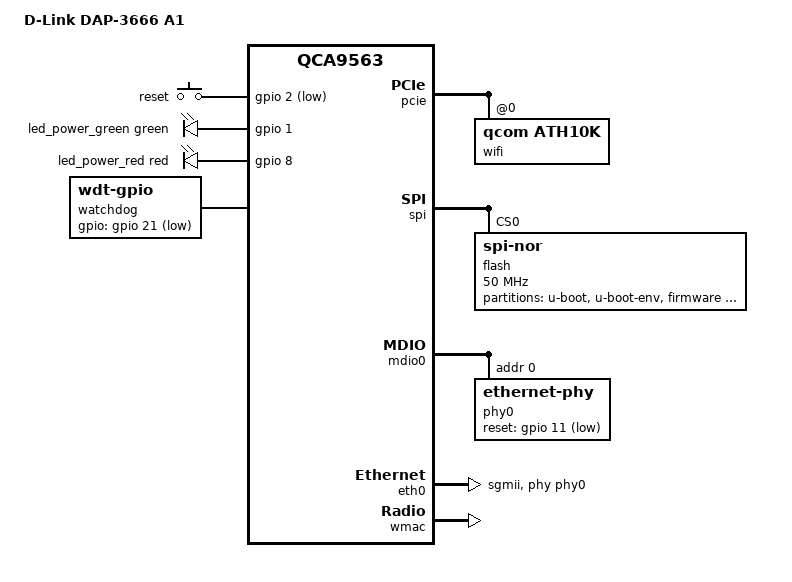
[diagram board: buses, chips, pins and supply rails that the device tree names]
// SPDX-License-Identifier: GPL-2.0-or-later OR MIT

#include "qca956x.dtsi"

#include <dt-bindings/gpio/gpio.h>
#include <dt-bindings/input/input.h>
#include <dt-bindings/leds/common.h>

/ {
	compatible = "dlink,dap-3666-a1", "qca,qca9563";
	model = "D-Link DAP-3666 A1";

	aliases {
		led-boot = &led_power_green;
		led-failsafe = &led_power_red;
		led-running = &led_power_green;
		led-upgrade = &led_power_red;
	};

	keys {
		compatible = "gpio-keys";

		reset {
			linux,code = <KEY_RESTART>;
			gpios = <&gpio 2 GPIO_ACTIVE_LOW>;
			debounce-interval = <60>;
		};
	};

	leds {
		compatible = "gpio-leds";

		led_power_green: power-green {
			function = LED_FUNCTION_POWER;
			color = <LED_COLOR_ID_GREEN>;
			gpios = <&gpio 1 GPIO_ACTIVE_HIGH>;
			default-state = "on";
		};

		led_power_red: power-red {
			function = LED_FUNCTION_POWER;
			color = <LED_COLOR_ID_RED>;
			gpios = <&gpio 8 GPIO_ACTIVE_HIGH>;
		};
	};

	watchdog {
		compatible = "linux,wdt-gpio";
		gpios = <&gpio 21 GPIO_ACTIVE_LOW>;
		hw_algo = "toggle";
		hw_margin_ms = <1600>;
		always-running;
	};
};

&pcie {
	status = "okay";

	wifi@0,0 {
		compatible = "qcom,ath10k";
		reg = <0 0 0 0 0>;

		nvmem-cells = <&precal_art_5000>;
		nvmem-cell-names = "pre-calibration";
	};
};

&spi {
	status = "okay";

	flash@0 {
		compatible = "jedec,spi-nor";
		reg = <0>;
		spi-max-frequency = <50000000>;

		partitions {
			compatible = "fixed-partitions";
			#address-cells = <1>;
			#size-cells = <1>;

			partition@0 {
				label = "u-boot";
				reg = <0x0 0x40000>;
				read-only;
			};

			partition@40000 {
				label = "u-boot-env";
				reg = <0x40000 0x10000>;
				read-only;
			};

			partition@50000 {
				label = "firmware";
				reg = <0x50000 0xd20000>;
				compatible = "denx,uimage";
			};

			partition@e70000 {
				label = "manufacture";
				reg = <0xe70000 0x100000>;
				read-only;
			};

			partition@f70000 {
				label = "storage";
				reg = <0xf70000 0x80000>;
				read-only;
			};

			art: partition@ff0000 {
				label = "art";
				reg = <0xff0000 0x10000>;
				read-only;

				nvmem-layout {
					compatible = "fixed-layout";
					#address-cells = <1>;
					#size-cells = <1>;

					cal_art_1000: calibration@1000 {
						reg = <0x1000 0x440>;
					};

					precal_art_5000: precal@5000 {
						reg = <0x5000 0x2f20>;
					};
				};
			};
		};
	};
};

&mdio0 {
	status = "okay";

	phy0: ethernet-phy@0 {
		reg = <0>;
		qca,mib-poll-interval = <500>;
		reset-gpios = <&gpio 11 GPIO_ACTIVE_LOW>;

		qca,ar8327-initvals = <
			0x04 0x00080080 /* PORT0 PAD MODE CTRL */
			0x10 0x81000080 /* POWER_ON_STRAP */
			0x50 0xcc35cc35 /* LED_CTRL0 */
			0x54 0xcb37cb37 /* LED_CTRL1 */
			0x58 0x00000000 /* LED_CTRL2 */
			0x5c 0x00f3cf00 /* LED_CTRL3 */
			0x7c 0x0000007e /* PORT0_STATUS */
			>;
	};
};

&eth0 {
	status = "okay";

	pll-data = <0x03000101 0x00000101 0x00001919>;

	phy-mode = "sgmii";
	phy-handle = <&phy0>;
};

&wmac {
	status = "okay";

	nvmem-cells = <&cal_art_1000>;
	nvmem-cell-names = "calibration";
};

